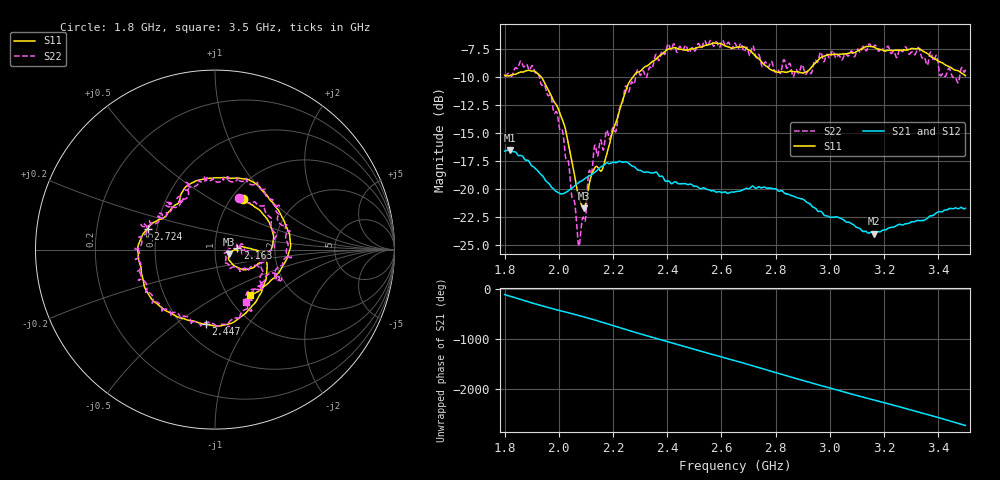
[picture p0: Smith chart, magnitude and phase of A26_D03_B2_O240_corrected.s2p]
! Created with skrf 1.9.0 (http://scikit-rf.org).
# Hz S RI R 50.0
!freq ReS11 ImS11 ReS21 ImS21 ReS12 ImS12 ReS22 ImS22
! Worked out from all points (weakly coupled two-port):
!   1601 points, 1.8 GHz to 3.5 GHz, reference 50 ohm
!   highest |S21| = -16.54 dB at 1.819 GHz (marker M1); lowest = -24.0 dB at 3.163 GHz (marker M2)
!   lowest |S11| = -21.8 dB at 2.092 GHz (marker M3), VSWR 1.18, Z = 58.4 - j2.92 ohm
!   |S11| at or under -10 dB: 1.934 GHz to 2.274 GHz (340.4 MHz wide, 16.2 % of centre)
!   |S22| runs from -25.1 to -6.8 dB; largest |S21 - S12| = 0.0026
!   S11 on the Smith chart (normalised r, x): 1.8 GHz: 1.13, +0.71; 2.163 GHz: 1.28, +0.02; 2.447 GHz: 0.65, -0.65; 2.724 GHz: 0.44, +0.12; 3.5 GHz: 1.26, -0.71
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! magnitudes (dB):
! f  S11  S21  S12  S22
! 1.8 GHz  -9.9  -16.6  -16.6  -9.9
! 1.819 GHz  -9.9  -16.5  -16.6  -9.8
! 1.903 GHz  -9.5  -18.0  -18.0  -9.0
! 1.968 GHz  -11.5  -19.7  -19.7  -11.6
! 2.015 GHz  -13.9  -20.4  -20.5  -14.9
! 2.072 GHz  -20.5  -19.5  -19.5  -24.9
! 2.084 GHz  -21.4  -19.3  -19.3  -23.2
! 2.092 GHz  -21.8  -19.2  -19.2  -22.6
! 2.131 GHz  -18.2  -18.6  -18.5  -16.2
! 2.163 GHz  -18.1  -18.0  -17.9  -16.5
! 2.258 GHz  -10.6  -17.7  -17.7  -11.3
! 2.367 GHz  -8.2  -18.8  -18.7  -8.5
! 2.447 GHz  -7.6  -19.6  -19.6  -7.3
! 2.65 GHz  -7.4  -20.3  -20.3  -7.0
! 2.724 GHz  -8.1  -19.9  -19.9  -8.0
! 2.807 GHz  -9.6  -20.1  -20.1  -9.4
! 2.934 GHz  -9.1  -21.6  -21.5  -9.6
! 3.163 GHz  -7.3  -24.0  -24.0  -7.2
! 3.217 GHz  -7.6  -23.5  -23.5  -7.4
! 3.375 GHz  -8.2  -22.4  -22.4  -7.9
! 3.468 GHz  -9.4  -21.7  -21.7  -10.4
! 3.5 GHz  -9.9  -21.7  -21.7  -9.4
